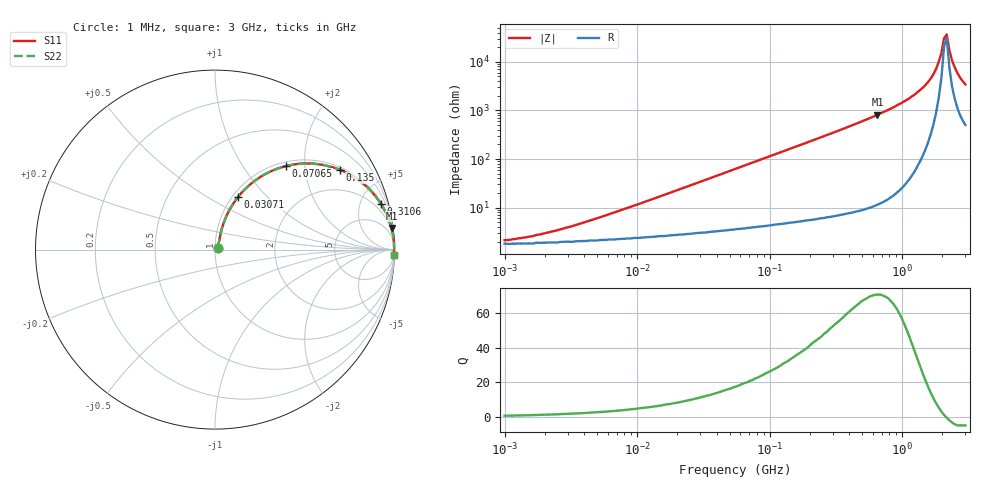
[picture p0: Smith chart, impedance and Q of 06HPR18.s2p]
# MHz S MA R 50
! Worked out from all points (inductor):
!   174 points, 1 MHz to 3 GHz, reference 50 ohm
!   read as one part in series: L = 180 nH near 5.804 MHz
!   highest Q = 70.9 at 651.4 MHz (marker M1), where L = 198 nH
!   self-resonance near 2.072 GHz
!   S11 on the Smith chart (normalised r, x): 1 MHz: 1.04, +0.02; 30.71 MHz: 1.06, +0.70; 70.65 MHz: 1.08, +1.60; 135 MHz: 1.10, +3.07; 310.6 MHz: 1.13, +7.18; 3 GHz: 12, -68
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1  0.021 31.8  0.982 -0.6  0.982 -0.6  0.021 31.8
1.825  0.027 46.5  0.981 -1.2  0.981 -1.2  0.027 46.5
3.827  0.047 62.3  0.979 -2.4  0.979 -2.4  0.047 62.3
14.647  0.161 72.0  0.962 -9.2  0.962 -9.2  0.161 72.0
30.713  0.321 66.3  0.92 -18.6  0.92 -18.6  0.321 66.3
56.054  0.523 55.3  0.823 -31.5  0.823 -31.5  0.523 55.3
70.649  0.611 49.6  0.763 -37.6  0.763 -37.6  0.611 49.6
135.049  0.826 32.6  0.538 -55.7  0.538 -55.7  0.826 32.6
214.526  0.919 22.0  0.375 -66.7  0.375 -66.7  0.919 22.0
310.65  0.959 15.5  0.267 -73.4  0.267 -73.4  0.959 15.5
651.411  0.991 7.0  0.122 -82.2  0.122 -82.2  0.991 7.0
821.013  0.994 5.2  0.091 -83.9  0.091 -83.9  0.994 5.2
1245.205  0.998 2.7  0.047 -85.8  0.047 -85.8  0.998 2.7
1569.407  0.998 1.5  0.026 -85.2  0.026 -85.2  0.998 1.5
1803.153  0.998 0.8  0.014 -82.0  0.014 -82.0  0.998 0.8
1978.019  0.998 0.4  0.006561 -71.7  0.006561 -71.7  0.998 0.4
2071.713  0.998 0.1  0.003251 -47.8  0.003251 -47.8  0.998 0.1
2169.844  0.998 -0.1  0.002737 30.8  0.002737 30.8  0.998 -0.1
2272.623  0.997 -0.3  0.005807 63.8  0.005807 63.8  0.997 -0.3
2380.271  0.997 -0.5  0.009457 72.6  0.009457 72.6  0.997 -0.5
2611.105  0.997 -1.0  0.017 78.1  0.017 78.1  0.997 -1.0
3000  0.995 -1.6  0.029 80.0  0.029 80.0  0.995 -1.6
